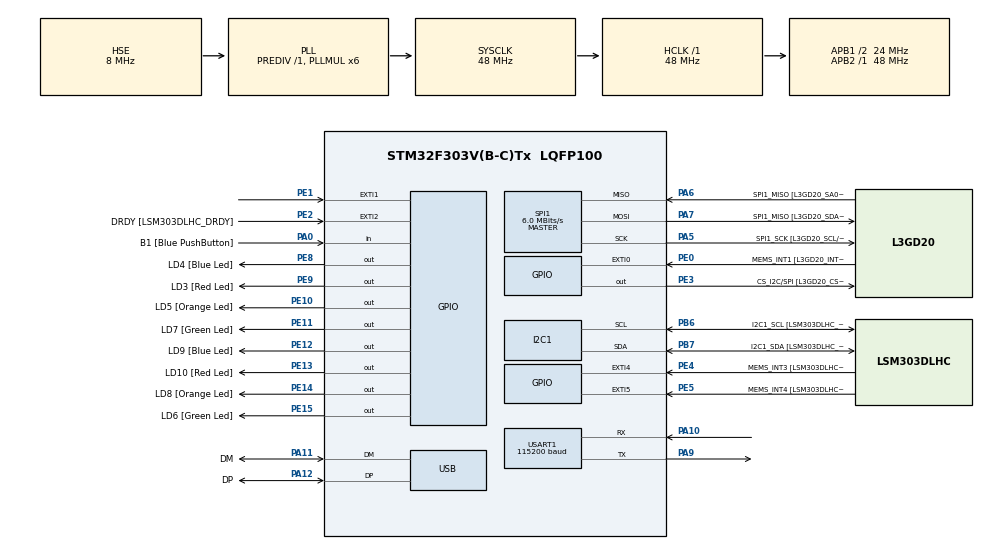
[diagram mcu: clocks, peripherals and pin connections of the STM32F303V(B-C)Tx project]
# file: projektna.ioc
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I2C1.Timing=0x00201D2B
I2C1.Timing-I2C=0x2000090E
Mcu.Family=STM32F3
Mcu.Name=STM32F303V(B-C)Tx
Mcu.Package=LQFP100
NVIC.EXTI1_IRQn=true\:0\:0\:false\:false\:true\:true\:true\:true
NVIC.PriorityGroup=NVIC_PRIORITYGROUP_0
NVIC.USART1_IRQn=true\:0\:0\:false\:false\:true\:true\:true\:true
NVIC.USB_LP_CAN_RX0_IRQn=true\:0\:0\:false\:false\:true\:false\:true\:true
PA0.GPIO_Label=B1 [Blue PushButton]
PA0.Signal=GPIO_Input
PA10.Mode=Asynchronous
PA10.Signal=USART1_RX
PA11.GPIO_Label=DM
PA11.Mode=Device
PA11.Signal=USB_DM
PA12.GPIO_Label=DP
PA12.Mode=Device
PA12.Signal=USB_DP
PA13.GPIO_Label=SWDIO
PA13.Mode=Serial_Wire
PA13.Signal=SYS_JTMS-SWDIO
PA14.GPIO_Label=SWCLK
PA14.Mode=Serial_Wire
PA14.Signal=SYS_JTCK-SWCLK
PA5.GPIO_Label=SPI1_SCK [L3GD20_SCL/SPC]
PA5.Mode=Full_Duplex_Master
PA5.Signal=SPI1_SCK
PA6.GPIO_Label=SPI1_MISO [L3GD20_SA0/SDO]
PA6.Mode=Full_Duplex_Master
PA6.Signal=SPI1_MISO
PA7.GPIO_Label=SPI1_MISO [L3GD20_SDA/SDI/SDO]
PA7.Mode=Full_Duplex_Master
PA7.Signal=SPI1_MOSI
PA9.Mode=Asynchronous
PA9.Signal=USART1_TX
PB3.GPIO_Label=SWO
PB3.Signal=SYS_JTDO-TRACESWO
PB6.GPIO_Label=I2C1_SCL [LSM303DLHC_SCL]
PB6.GPIO_Pu=GPIO_PULLUP
PB6.Mode=I2C
PB6.Signal=I2C1_SCL
PB7.GPIO_Label=I2C1_SDA [LSM303DLHC_SDA]
PB7.GPIO_Pu=GPIO_PULLUP
PB7.Mode=I2C
PB7.Signal=I2C1_SDA
PC14-OSC32_IN.GPIO_Label=OSC32_IN
PC14-OSC32_IN.Signal=RCC_OSC32_IN
PC15-OSC32_OUT.GPIO_Label=OSC32_OUT
PC15-OSC32_OUT.Signal=RCC_OSC32_OUT
PE0.GPIO_Label=MEMS_INT1 [L3GD20_INT1]
PE0.GPIO_ModeDefaultEXTI=GPIO_MODE_EVT_RISING
PE0.Signal=GPXTI0
PE1.Signal=GPXTI1
PE10.GPIO_Label=LD5 [Orange Led]
PE10.Signal=GPIO_Output
PE11.GPIO_Label=LD7 [Green Led]
PE11.Signal=GPIO_Output
PE12.GPIO_Label=LD9 [Blue Led]
PE12.Signal=GPIO_Output
PE13.GPIO_Label=LD10 [Red Led]
PE13.Signal=GPIO_Output
PE14.GPIO_Label=LD8 [Orange Led]
PE14.Signal=GPIO_Output
PE15.GPIO_Label=LD6 [Green Led]
PE15.Signal=GPIO_Output
PE2.GPIO_Label=DRDY [LSM303DLHC_DRDY]
PE2.GPIO_ModeDefaultEXTI=GPIO_MODE_EVT_RISING
PE2.Signal=GPXTI2
PE3.GPIO_Label=CS_I2C/SPI [L3GD20_CS_I2C/SPI]
PE3.GPIO_Speed=GPIO_SPEED_FREQ_HIGH
PE3.Signal=GPIO_Output
PE4.GPIO_Label=MEMS_INT3 [LSM303DLHC_INT1]
PE4.GPIO_ModeDefaultEXTI=GPIO_MODE_EVT_RISING
PE4.Signal=GPXTI4
PE5.GPIO_Label=MEMS_INT4 [LSM303DLHC_INT2]
PE5.GPIO_ModeDefaultEXTI=GPIO_MODE_EVT_RISING
PE5.Signal=GPXTI5
PE8.GPIO_Label=LD4 [Blue Led]
PE8.Signal=GPIO_Output
PE9.GPIO_Label=LD3 [Red Led]
PE9.Signal=GPIO_Output
PF0-OSC_IN.GPIO_Label=OSC_IN
PF0-OSC_IN.Mode=HSE-External-Clock-Source
PF0-OSC_IN.Signal=RCC_OSC_IN
PF1-OSC_OUT.GPIO_Label=OSC_OUT
PF1-OSC_OUT.Signal=RCC_OSC_OUT
ProjectManager.HeapSize=0x200
ProjectManager.StackSize=0x400
ProjectManager.TargetToolchain=STM32CubeIDE
RCC.AHBFreq_Value=48000000
RCC.APB1CLKDivider=RCC_HCLK_DIV2
RCC.APB1Freq_Value=24000000
RCC.APB1TimFreq_Value=48000000
RCC.APB2Freq_Value=48000000
RCC.APB2TimFreq_Value=48000000
RCC.CortexFreq_Value=48000000
RCC.HCLKFreq_Value=48000000
RCC.HSE_VALUE=8000000
RCC.HSI_VALUE=8000000
RCC.LSE_VALUE=32768
RCC.PLLMUL=RCC_PLL_MUL6
RCC.SYSCLKFreq_VALUE=48000000
RCC.SYSCLKSourceVirtual=RCC_SYSCLKSOURCE_PLLCLK
RCC.USBFreq_Value=48000000
SPI1.BaudRatePrescaler=SPI_BAUDRATEPRESCALER_8
SPI1.BaudRatePrescaler-Full_Duplex_Master=SPI_BAUDRATEPRESCALER_2
SPI1.CLKPhase=SPI_PHASE_2EDGE
SPI1.CLKPolarity=SPI_POLARITY_HIGH
SPI1.CalculateBaudRate=6.0 MBits/s
SPI1.CalculateBaudRate-Full_Duplex_Master=24.0 MBits/s
SPI1.DataSize=SPI_DATASIZE_8BIT
SPI1.Direction=SPI_DIRECTION_2LINES
SPI1.Mode=SPI_MODE_MASTER
SPI1.Mode-Full_Duplex_Master=SPI_MODE_MASTER
SPI1.VirtualType=VM_MASTER
USART1.BaudRate=115200
USART1.VirtualMode-Asynchronous=VM_ASYNC
USB_DEVICE.CLASS_NAME_FS=CDC
USB_DEVICE.VirtualMode=Cdc
USB_DEVICE.VirtualModeFS=Cdc_FS
VP_USB_DEVICE_VS_USB_DEVICE_CDC_FS.Mode=CDC_FS
board=STM32F3DISCOVERY

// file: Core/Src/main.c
/* USER CODE BEGIN Header */
/**
  ******************************************************************************
  * @file           : main.c
  * @brief          : Main program body
  ******************************************************************************
  * @attention
  *
  * Copyright (c) 2025 STMicroelectronics.
  * All rights reserved.
  *
  * This software is licensed under terms that can be found in the LICENSE file
  * in the root directory of this software component.
  * If no LICENSE file comes with this software, it is provided AS-IS.
  *
  ******************************************************************************
  */
/* USER CODE END Header */
#include "main.h"
#include "usb_device.h"

/* USER CODE BEGIN PD */
#define SERVER_IP "192.168.137.1"  //spremeni to da kaze na sever
#define SERVER_PORT "3000"           //spremeni to na pravi port, ponavadi 80
#define CONNECTION_ID 0
#define DEVICE_ID 1				  //identifikator za napravo
#define API_ENDPOINT "/user_routes/add-gyro-measurement"
#define UART_RX_BUFFER_SIZE 2048
#define MAX_JSON_SIZE 2048
#define MEASUREMENTS_PER_BATCH 20
//#define BUFFER_SIZE 1024

//static char debugBuffer[UART_RX_BUFFER_SIZE];
static volatile uint16_t debugLength = 0;
static volatile uint8_t newDataFlag = 0;
static uint8_t uartRxBuffer[UART_RX_BUFFER_SIZE];
static volatile uint16_t uartRxIndex = 0;

static uint8_t tempByte;
static uint32_t lastATTime = 0;
int connectedToWifi = 0;

#define CTRL_REG1_ADDR   0x20  // Address for CTRL_REG1
#define CTRL_REG4_ADDR   0x23   // Address for CTRL_REG4

/* USER CODE END PD */

I2C_HandleTypeDef hi2c1;

SPI_HandleTypeDef hspi1;

UART_HandleTypeDef huart1;

/* USER CODE BEGIN PV */
UART_HandleTypeDef huart1;

uint32_t last_button_press = 0;
uint8_t gyro_ready = 0;
/* USER CODE END PV */

void SystemClock_Config(void);
static void MX_GPIO_Init(void);
static void MX_I2C1_Init(void);
static void MX_SPI1_Init(void);
static void MX_USART1_UART_Init(void);

/* USER CODE BEGIN 0 */

// ---------------------------------------------------------------------------
//                          GYRO CODE
// ---------------------------------------------------------------------------

// Pavza, s katero omogocimo pravilno delovanje avtomatskega testa
void pavza(){
  uint32_t counter = 0;
  for(counter=0; counter<600; counter++){
    asm("nop");
  }
}

uint8_t spi1_beriRegister(uint8_t reg)
{
  uint16_t buf_out, buf_in;
  reg |= 0x80; // najpomembnejsi bit na 1
  buf_out = reg; // little endian, se postavi na pravo mesto ....
  HAL_GPIO_WritePin(GPIOE, GPIO_PIN_3, GPIO_PIN_RESET);
  pavza();
  //HAL_SPI_TransmitReceive(&hspi1, (uint8_t*)&buf_out, (uint8_t*)&buf_in, 2, 2); // blocking posiljanje ....
  HAL_SPI_TransmitReceive(&hspi1, &((uint8_t*)&buf_out)[0], &((uint8_t*)&buf_in)[0], 1, 2); // razbito na dva dela, da se podaljsa cas in omogoci pravilno delovanje testa
  pavza();
  HAL_SPI_TransmitReceive(&hspi1, &((uint8_t*)&buf_out)[1], &((uint8_t*)&buf_in)[1], 1, 2); // razbito na dva dela, da se podaljsa cas in omogoci pravilno delovanje testa
  HAL_GPIO_WritePin(GPIOE, GPIO_PIN_3, GPIO_PIN_SET);
  pavza();
  return buf_in >> 8; // little endian...
}

void spi1_pisiRegister(uint8_t reg, uint8_t vrednost)
{
  uint16_t buf_out;
  buf_out = reg | (vrednost<<8); // little endian, se postavi na pravo mesto ....
  HAL_GPIO_WritePin(GPIOE, GPIO_PIN_3, GPIO_PIN_RESET);
  pavza();
  //HAL_SPI_Transmit(&hspi1, (uint8_t*)&buf_out, 2, 2); // blocking posiljanje ....
  HAL_SPI_Transmit(&hspi1, &((uint8_t*)&buf_out)[0], 1, 2); // razbito na dva dela, da se podaljsa cas in omogoci pravilno delovanje testa
  pavza();
  HAL_SPI_Transmit(&hspi1, &((uint8_t*)&buf_out)[1], 1, 2); // razbito na dva dela, da se podaljsa cas in omogoci pravilno delovanje testa
  HAL_GPIO_WritePin(GPIOE, GPIO_PIN_3, GPIO_PIN_SET);
  pavza();
}

void spi1_beriRegistre(uint8_t reg, uint8_t* buffer, uint8_t velikost)
{
  reg |= 0xC0; // najpomembnejsa bita na 1
  HAL_GPIO_WritePin(GPIOE, GPIO_PIN_3, GPIO_PIN_RESET);
  pavza();
  HAL_SPI_Transmit(&hspi1, &reg, 1, 10); // blocking posiljanje....
  pavza();
  HAL_SPI_Receive(&hspi1,  buffer, velikost, velikost); // blocking posiljanje....
  HAL_GPIO_WritePin(GPIOE, GPIO_PIN_3, GPIO_PIN_SET);
  pavza();
}

void initL3GD20()
{
  // preverimo ali smo "poklicali" pravi senzor
  uint8_t cip = spi1_beriRegister(0x0F);
  if (cip != 0xD4 && cip != 0xD3)
    for (;;);

  spi1_pisiRegister(0x20, 0x0F);// zbudi ziroskop in omogoci osi
  spi1_pisiRegister(0x22, 0x08);// zbudi ziroskop in omogoci osi
  spi1_pisiRegister(0x23, 0x10);// zbudi ziroskop in omogoci osi
}

void set_responsivness_190Hz() {
	/*
	 * DR (Data Rate) = 01 (190 Hz)
	 * BW = 00 (no low-pass filter)
	 * PD (Power Down) = 1 (Power On)
	 * Zen = 1, Yen = 1, Xen = 1 (Enable all axes)
	 * => 01001111 = 0x6f
	 */
     uint8_t ctrl_reg1_value = 0x6F; // DR=01 (190 Hz)

    // Write to CTRL_REG1
    HAL_SPI_Transmit(&hspi1, (uint8_t[]){CTRL_REG1_ADDR | SPI_SR_TXE, ctrl_reg1_value}, 2, HAL_MAX_DELAY);
}

void Set_Sensitivity_500DPS() {
	/*
	 * FS = 01
	 * BDU, BLE, SIM, ST, and bits [2:0] = 0
	 * => 01000000 = 0x10
	 */
    uint8_t ctrl_reg4_value = 0x10; // FS = 01 for Â±500 dps

    // Write to CTRL_REG4
    HAL_SPI_Transmit(&hspi1, (uint8_t[]){CTRL_REG4_ADDR | SPI_SR_TXE, ctrl_reg4_value}, 2, HAL_MAX_DELAY);

}

uint8_t isButtonPressed() {
    if (HAL_GPIO_ReadPin(GPIOA, GPIO_PIN_0) == GPIO_PIN_SET) { // Gumb pritisnjen
        if (HAL_GetTick() - last_button_press > 100) { // 100 ms debounce
            last_button_press = HAL_GetTick();
            return 1;
        }
    }
    return 0;
}

void HAL_GPIO_EXTI_Callback(uint16_t GPIO_Pin) {
	if(GPIO_Pin == GPIO_PIN_1) {
		gyro_ready = 1;
		HAL_GPIO_TogglePin(GPIOE, GPIO_PIN_12);
	}
}

// ----------------------------------------------------------------------------

// ---------------------------------------------------------------------------
//                          G Y R O S za malco?
// ---------------------------------------------------------------------------

void appendToJson(char* jsonStr, float value, int isLast) {
    char valueBuffer[32];
    int fullPart = (int)value;
    int decimalPart;

    //obdelam negativen vrednosti da no -1.-2
    if (value < 0) {
        float decimalTemp = (value - (float)fullPart) * -100.0f;
        decimalPart = (int)(decimalTemp + 0.5f);
    } else {
        float decimalTemp = (value - (float)fullPart) * 100.0f;
        decimalPart = (int)(decimalTemp + 0.5f);
    }

    //formatiram ,dve decimalki
    sprintf(valueBuffer, "%d.%02d%s", fullPart, decimalPart, isLast ? "" : ", ");
    strcat(jsonStr, valueBuffer);
}

void sendMeasurementBatch(float* measurements, int count) {
    char jsonData[MAX_JSON_SIZE];

    //ustvarim nov JSon
    sprintf(jsonData, "{\"deviceId\": \"%d\", \"measurements\": [", DEVICE_ID);

    //dodam vsako meritev posebej
    for(int i = 0; i < count; i++) {
        appendToJson(jsonData, measurements[i], i == count - 1);
    }

    //koncam json
    strcat(jsonData, "]}");

    //posljem podatke
    SendData(jsonData);
    SendDebug("Batch sent:");
    SendDebug(jsonData);
}

void SendData(const char* data)
{
    char cmd[128];

    //naredim povezavo
    sprintf(cmd, "AT+CIPSTART=%d,\"TCP\",\"%s\",%s", CONNECTION_ID, SERVER_IP, SERVER_PORT);
    SendCommand(cmd);
    HAL_Delay(1000);

    //pripravim post request
    char request[512];
       sprintf(request,
           "POST %s HTTP/1.1\r\n"
           "Host: %s\r\n"
           "Content-Type: application/json\r\n"
           "Connection: close\r\n"
           "Content-Length: %d\r\n"
           "\r\n"
           "%s",
           API_ENDPOINT, SERVER_IP, strlen(data), data);

    //posljem dolzino sporocila
    sprintf(cmd, "AT+CIPSEND=%d,%d", CONNECTION_ID, strlen(request));
    SendCommand(cmd);
    HAL_Delay(100);

    //posljem dejsnako sporocilo
    HAL_UART_Transmit(&huart1, (uint8_t*)request, strlen(request), 1000);
    HAL_Delay(1000);

    //zaprem povezavo
    sprintf(cmd, "AT+CIPCLOSE=%d", CONNECTION_ID);
    SendCommand(cmd);

    SendDebug("Data sent to server");
}

void SendSensorData(int fullPart, int decimalPart)
{
    char jsonData[128];
    //zapakiram v json
    sprintf(jsonData, "{\"deviceId\": \"%d\", \"gyro\": %d.%02d}",
              DEVICE_ID, fullPart, decimalPart);

    SendDebug("Sending sensor data:");
    SendDebug(jsonData);

    SendData(jsonData);
}

void SendCommand(const char* command)
{
	HAL_GPIO_WritePin(GPIOE, LD6_Pin, GPIO_PIN_SET);
    char cmd[128];
    sprintf(cmd, "%s\r\n", command);

    //posljem debug na pc
    SendDebug("TX -> ");
    SendDebug(cmd);

    //posljem komando na esp
    HAL_UART_Transmit(&huart1, (uint8_t*)cmd, strlen(cmd), 1000);

	HAL_GPIO_WritePin(GPIOE, LD6_Pin, GPIO_PIN_RESET);
}

void SetupAPServer(void)
{
	HAL_GPIO_WritePin(GPIOE, LD10_Pin, GPIO_PIN_RESET);
	HAL_GPIO_WritePin(GPIOE, LD8_Pin, GPIO_PIN_SET);
    //resetiraj
    SendCommand("AT+RST");
    HAL_Delay(2000);

    //AP
    SendCommand("AT+CWMODE=2");

    //nastavitve AP
    SendCommand("AT+CWSAP=\"ESP32_citrusi\",\"12345678\",1,3");

    //Vec povezav
    SendCommand("AT+CIPMUX=1");

    //zacnem TCP server
    SendCommand("AT+CIPSERVER=1,80");

    //dobim ip
    SendCommand("AT+CIFSR");
}

//posiljanje debug informacij na pc
void SendDebug(const char* message)
{
	  //posljem sporocilo
	    uint8_t result = CDC_Transmit_FS((uint8_t*)message, strlen(message));
	    HAL_Delay(10);

	    //posljem se konec vrstice
	    if (result == USBD_OK)
	    {
	        CDC_Transmit_FS((uint8_t*)"\r\n", 2);
	        HAL_Delay(10);
	    }
}

void ConnectToWiFi(char conn_id, const char* ssid, const char* password)
{
    char response[512];

    HAL_GPIO_WritePin(GPIOE, LD8_Pin, GPIO_PIN_RESET);

    //spremenim mode v AP in WIFI
    SendCommand("AT+CWMODE=3");
    HAL_Delay(2000);

    char wifi_cmd[128];
    sprintf(wifi_cmd, "AT+CWJAP=\"%s\",\"%s\"", ssid, password);
    SendCommand(wifi_cmd);

    HAL_Delay(2000);

   /* SendCommand("AT+CIFSR");
    memset(response, 0, sizeof(response));
    HAL_Delay(1000);
    */
    HAL_GPIO_WritePin(GPIOE, LD10_Pin, GPIO_PIN_SET);
    connectedToWifi = 1;
   /* HAL_UART_Receive(&huart1, (uint8_t*)response, sizeof(response), 1000);

    if(strstr(response, "STAIP,\"")) {

           HAL_GPIO_WritePin(GPIOE, LD9_Pin, GPIO_PIN_SET);
       } else {
           SendDebug("Failed to get IP!");
           HAL_GPIO_WritePin(GPIOE, LD9_Pin, GPIO_PIN_RESET);
       }*/
}

void SendWebPage(char conn_id)
{
	 const char* html = "HTTP/1.1 200 OK\r\n"
				 "Content-Type: text/html\r\n\r\n"
				                       "<html><head>"
				                       "<meta name='viewport' content='width=device-width, initial-scale=1.0'>"
				                       "<style>"
				                       "body {display: flex; justify-content: center; align-items: center; height: 100vh; margin: 0;}"
				                       ".container {text-align: center; width: 90%; max-width: 300px;}"
				                       "input {font-size: 18px; padding: 8px; margin: 10px; width: 100%; box-sizing: border-box;}"
				                       "h1 {font-size: 24px;}"
			 	 	 	 	 	          "</style></head>"
		                     "<body>"
		                     "<div class='container'>"
		                     "<h1>Citrusi Wifi setup</h1>"
			 	 	        "<form method='get' action='/connect'>"
		                     "<p><input type='text' name='ssid' placeholder='WiFi Name'></p>"
		                     "<p><input type='password' name='pass' placeholder='Password'></p>"
		                     "<input type='submit' value='Povezi'>"
		                     "</form>"
		                     "</div></body></html>";

		    char lenCmd[32];
		    sprintf(lenCmd, "AT+CIPSEND=%c,%d", conn_id, strlen(html));
		    SendCommand(lenCmd);
		    HAL_Delay(500);

		    HAL_UART_Transmit(&huart1, (uint8_t*)html, strlen(html), 1000);
		    HAL_Delay(500);

		    char closeCmd[32];
		    sprintf(closeCmd, "AT+CIPCLOSE=%c", conn_id);
		    SendCommand(closeCmd);
		    HAL_Delay(500);
}

void extractUrlParams(const char* url, char* ssid, char* password) {

	    char* ssid_start = strstr(url, "ssid=");
	    char* pass_start = strstr(url, "pass=");

	    if(ssid_start && pass_start)
	    {
	        ssid_start += 5;

	        char* ssid_end = strstr(ssid_start, "&");
	        if(!ssid_end) ssid_end = strstr(ssid_start, " ");

	        if(ssid_end) {
	            size_t ssid_len = ssid_end - ssid_start;
	            strncpy(ssid, ssid_start, ssid_len);
	            ssid[ssid_len] = 0;

	              }

	        pass_start += 5;

	        char* pass_end = strstr(pass_start, "&");
	        if(!pass_end) pass_end = strstr(pass_start, " ");

	        if(pass_end) {
	            size_t pass_len = pass_end - pass_start;
	            strncpy(password, pass_start, pass_len);
	            password[pass_len] = 0;
	        }
	   }
}

void ProcessUART(void)
{
    char* ipd = strstr((char*)uartRxBuffer, "+IPD,");
    char* get = strstr((char*)uartRxBuffer, "GET");

    if(ipd && get)
    {
        SendDebug("Dobil buffer:");
        SendDebug((char*)uartRxBuffer);

        char conn_id = ipd[5];
        HAL_GPIO_WritePin(GPIOE, LD4_Pin, GPIO_PIN_SET);

        if(strstr((char*)uartRxBuffer, "connect"))
        {
            char ssid[32] = {0};
            char password[32] = {0};

            //HAL_GPIO_WritePin(GPIOE, LD5_Pin, GPIO_PIN_SET);
            extractUrlParams((char*)uartRxBuffer, ssid, password);

            if(strlen(ssid) > 0 && strlen(password) > 0)
            {
                ConnectToWiFi(conn_id, ssid, password);
            }

        }
        else
        {
            //HAL_GPIO_WritePin(GPIOE, LD9_Pin, GPIO_PIN_SET);
            SendWebPage(conn_id);
        }

        HAL_GPIO_WritePin(GPIOE, LD4_Pin, GPIO_PIN_RESET);
    }
}

void HAL_UART_RxCpltCallback(UART_HandleTypeDef *huart)
{
	  if(huart->Instance == USART1)
	    {
	        //shrani prvi byte
	        if(uartRxIndex < UART_RX_BUFFER_SIZE - 1)
	        {
	            uartRxBuffer[uartRxIndex++] = tempByte;

	            //nastavi zastavico za procesiranje ce dobimo konec vrstice
	            if(tempByte == '\n' || tempByte == '\r')
	            {
	                if(uartRxIndex > 1)
	                {
	                    newDataFlag = 1;
	                }
	            }
	        }
	        else
	        {
	            //resetiramo buffer
	            uartRxIndex = 0;
	        }

	        //resetiraj recepcijo prekinitve
	        HAL_UART_Receive_IT(&huart1, &tempByte, 1);
	    }
}

/* USER CODE END 0 */

int main(void)
{

  /* MCU Configuration--------------------------------------------------------*/

  /* Reset of all peripherals, Initializes the Flash interface and the Systick. */
  HAL_Init();

  /* Configure the system clock */
  SystemClock_Config();

  /* Initialize all configured peripherals */
  MX_GPIO_Init();
  MX_I2C1_Init();
  MX_SPI1_Init();
  MX_USART1_UART_Init();
  MX_USB_DEVICE_Init();
  /* USER CODE BEGIN 2 */

  //pokazatelj delovanja, led vsako sekundo unteracije while zanke
  HAL_GPIO_WritePin(GPIOE, LD3_Pin, GPIO_PIN_RESET);

  HAL_GPIO_WritePin(GPIOE, LD8_Pin, GPIO_PIN_RESET);

  //pokaze kdaj se posilja komanda
  HAL_GPIO_WritePin(GPIOE, LD6_Pin, GPIO_PIN_RESET);

//led on ko dobim nove podatke
  HAL_GPIO_WritePin(GPIOE, LD9_Pin, GPIO_PIN_RESET);

  HAL_GPIO_WritePin(GPIOE, LD7_Pin, GPIO_PIN_RESET);

  HAL_GPIO_WritePin(GPIOE, LD10_Pin, GPIO_PIN_RESET);

  HAL_GPIO_WritePin(GPIOE, LD4_Pin, GPIO_PIN_RESET);

  HAL_UART_Receive_IT(&huart1, &tempByte, 1);
  SendDebug("zacenjam ESP32 kot AP...");

     // Setup the access point
     SetupAPServer();

     SendDebug("AP nastavljen, cakam na povezave...");
  lastATTime = HAL_GetTick();

    // -----------------------------------------------------------------
    //                  GYRO CODE
    // -----------------------------------------------------------------

    __HAL_SPI_ENABLE(&hspi1);
    HAL_GPIO_WritePin(GPIOE, GPIO_PIN_3, GPIO_PIN_SET);

    set_responsivness_190Hz();
    Set_Sensitivity_500DPS();
    initL3GD20();

    // ---------------------------------------------------------------------

  /* USER CODE END 2 */

  /* Infinite loop */
  /* USER CODE BEGIN WHILE */

  while (1)
  {
	  if(newDataFlag)
	         {
		   HAL_GPIO_WritePin(GPIOE, LD9_Pin, GPIO_PIN_SET);

		    uartRxBuffer[uartRxIndex] = 0;

		    SendDebug("Dobil buffer:");
		    SendDebug((char*)uartRxBuffer);

		      //procesiram buffer
		     ProcessUART();

		       //resetiram buffer in zastavico
		      uartRxIndex = 0;
		      newDataFlag = 0;
	              memset(uartRxBuffer, 0, UART_RX_BUFFER_SIZE);
		      HAL_GPIO_WritePin(GPIOE, LD9_Pin, GPIO_PIN_RESET);
	         }

		static uint32_t lastBlink = 0;
		static uint32_t lastGyroSend = 0;
		static float measurements[MEASUREMENTS_PER_BATCH];
		static int measurementIndex = 0;

	    if(connectedToWifi && (HAL_GetTick() - lastGyroSend >= 500)) {
	        lastGyroSend = HAL_GetTick();

	        HAL_GPIO_TogglePin(GPIOE, LD6_Pin);

	        int16_t xyz[3] = {0};
	        spi1_beriRegistre(0x28, (uint8_t*)xyz, 6);

	        float sensitivity = 0.0175f;
	        float x_dps = xyz[0] * sensitivity;

	        /* int fullPart = (int)(x_dps);
	        int decimalPart;

	       if (x_dps < 0) {
	            float decimalTemp = (x_dps - (float)fullPart) * -100.0f;
	            decimalPart = (int)(decimalTemp + 0.5f);
	        } else {
	            float decimalTemp = (x_dps - (float)fullPart) * 100.0f;
	            decimalPart = (int)(decimalTemp + 0.5f);
	        }

	        SendSensorData(fullPart, decimalPart);
	        */
	        // Store measurement in buffer
	               measurements[measurementIndex] = x_dps;
	               measurementIndex++;

	               //ko je buffer pol posljem celo vsebino
	               if(measurementIndex >= MEASUREMENTS_PER_BATCH) {
	                   sendMeasurementBatch(measurements, measurementIndex);
	                   measurementIndex = 0;  //resetiram stevec
	               }
	    }

	  	  //indikator delovanje, led blink vsako sekundo
	        if(HAL_GetTick() - lastBlink >= 1000)
	        {
	            HAL_GPIO_TogglePin(GPIOE, LD3_Pin);
	            lastBlink = HAL_GetTick();

	        }
	         HAL_Delay(10);
	     }
    /* USER CODE END WHILE */

}

void SystemClock_Config(void)
{
  RCC_OscInitTypeDef RCC_OscInitStruct = {0};
  RCC_ClkInitTypeDef RCC_ClkInitStruct = {0};
  RCC_PeriphCLKInitTypeDef PeriphClkInit = {0};

  /** Initializes the RCC Oscillators according to the specified parameters
  * in the RCC_OscInitTypeDef structure.
  */
  RCC_OscInitStruct.OscillatorType = RCC_OSCILLATORTYPE_HSI|RCC_OSCILLATORTYPE_HSE;
  RCC_OscInitStruct.HSEState = RCC_HSE_BYPASS;
  RCC_OscInitStruct.HSEPredivValue = RCC_HSE_PREDIV_DIV1;
  RCC_OscInitStruct.HSIState = RCC_HSI_ON;
  RCC_OscInitStruct.HSICalibrationValue = RCC_HSICALIBRATION_DEFAULT;
  RCC_OscInitStruct.PLL.PLLState = RCC_PLL_ON;
  RCC_OscInitStruct.PLL.PLLSource = RCC_PLLSOURCE_HSE;
  RCC_OscInitStruct.PLL.PLLMUL = RCC_PLL_MUL6;
  if (HAL_RCC_OscConfig(&RCC_OscInitStruct) != HAL_OK)
  {
    Error_Handler();
  }

  /** Initializes the CPU, AHB and APB buses clocks
  */
  RCC_ClkInitStruct.ClockType = RCC_CLOCKTYPE_HCLK|RCC_CLOCKTYPE_SYSCLK
                              |RCC_CLOCKTYPE_PCLK1|RCC_CLOCKTYPE_PCLK2;
  RCC_ClkInitStruct.SYSCLKSource = RCC_SYSCLKSOURCE_PLLCLK;
  RCC_ClkInitStruct.AHBCLKDivider = RCC_SYSCLK_DIV1;
  RCC_ClkInitStruct.APB1CLKDivider = RCC_HCLK_DIV2;
  RCC_ClkInitStruct.APB2CLKDivider = RCC_HCLK_DIV1;

  if (HAL_RCC_ClockConfig(&RCC_ClkInitStruct, FLASH_LATENCY_1) != HAL_OK)
  {
    Error_Handler();
  }
  PeriphClkInit.PeriphClockSelection = RCC_PERIPHCLK_USB|RCC_PERIPHCLK_USART1
                              |RCC_PERIPHCLK_I2C1;
  PeriphClkInit.Usart1ClockSelection = RCC_USART1CLKSOURCE_PCLK2;
  PeriphClkInit.I2c1ClockSelection = RCC_I2C1CLKSOURCE_HSI;
  PeriphClkInit.USBClockSelection = RCC_USBCLKSOURCE_PLL;
  if (HAL_RCCEx_PeriphCLKConfig(&PeriphClkInit) != HAL_OK)
  {
    Error_Handler();
  }
}

static void MX_I2C1_Init(void)
{

  hi2c1.Instance = I2C1;
  hi2c1.Init.Timing = 0x00201D2B;
  hi2c1.Init.OwnAddress1 = 0;
  hi2c1.Init.AddressingMode = I2C_ADDRESSINGMODE_7BIT;
  hi2c1.Init.DualAddressMode = I2C_DUALADDRESS_DISABLE;
  hi2c1.Init.OwnAddress2 = 0;
  hi2c1.Init.OwnAddress2Masks = I2C_OA2_NOMASK;
  hi2c1.Init.GeneralCallMode = I2C_GENERALCALL_DISABLE;
  hi2c1.Init.NoStretchMode = I2C_NOSTRETCH_DISABLE;
  if (HAL_I2C_Init(&hi2c1) != HAL_OK)
  {
    Error_Handler();
  }

  /** Configure Analogue filter
  */
  if (HAL_I2CEx_ConfigAnalogFilter(&hi2c1, I2C_ANALOGFILTER_ENABLE) != HAL_OK)
  {
    Error_Handler();
  }

  /** Configure Digital filter
  */
  if (HAL_I2CEx_ConfigDigitalFilter(&hi2c1, 0) != HAL_OK)
  {
    Error_Handler();
  }

}

static void MX_SPI1_Init(void)
{

  /* SPI1 parameter configuration*/
  hspi1.Instance = SPI1;
  hspi1.Init.Mode = SPI_MODE_MASTER;
  hspi1.Init.Direction = SPI_DIRECTION_2LINES;
  hspi1.Init.DataSize = SPI_DATASIZE_8BIT;
  hspi1.Init.CLKPolarity = SPI_POLARITY_HIGH;
  hspi1.Init.CLKPhase = SPI_PHASE_2EDGE;
  hspi1.Init.NSS = SPI_NSS_SOFT;
  hspi1.Init.BaudRatePrescaler = SPI_BAUDRATEPRESCALER_8;
  hspi1.Init.FirstBit = SPI_FIRSTBIT_MSB;
  hspi1.Init.TIMode = SPI_TIMODE_DISABLE;
  hspi1.Init.CRCCalculation = SPI_CRCCALCULATION_DISABLE;
  hspi1.Init.CRCPolynomial = 7;
  hspi1.Init.CRCLength = SPI_CRC_LENGTH_DATASIZE;
  hspi1.Init.NSSPMode = SPI_NSS_PULSE_DISABLE;
  if (HAL_SPI_Init(&hspi1) != HAL_OK)
  {
    Error_Handler();
  }

}

static void MX_USART1_UART_Init(void)
{

  huart1.Instance = USART1;
  huart1.Init.BaudRate = 115200;
  huart1.Init.WordLength = UART_WORDLENGTH_8B;
  huart1.Init.StopBits = UART_STOPBITS_1;
  huart1.Init.Parity = UART_PARITY_NONE;
  huart1.Init.Mode = UART_MODE_TX_RX;
  huart1.Init.HwFlowCtl = UART_HWCONTROL_NONE;
  huart1.Init.OverSampling = UART_OVERSAMPLING_16;
  huart1.Init.OneBitSampling = UART_ONE_BIT_SAMPLE_DISABLE;
  huart1.AdvancedInit.AdvFeatureInit = UART_ADVFEATURE_NO_INIT;
  if (HAL_UART_Init(&huart1) != HAL_OK)
  {
    Error_Handler();
  }

}

static void MX_GPIO_Init(void)
{
  GPIO_InitTypeDef GPIO_InitStruct = {0};

  /* GPIO Ports Clock Enable */
  __HAL_RCC_GPIOE_CLK_ENABLE();
  __HAL_RCC_GPIOC_CLK_ENABLE();
  __HAL_RCC_GPIOF_CLK_ENABLE();
  __HAL_RCC_GPIOA_CLK_ENABLE();
  __HAL_RCC_GPIOB_CLK_ENABLE();

  /*Configure GPIO pin Output Level */
  HAL_GPIO_WritePin(GPIOE, CS_I2C_SPI_Pin|LD4_Pin|LD3_Pin|LD5_Pin
                          |LD7_Pin|LD9_Pin|LD10_Pin|LD8_Pin
                          |LD6_Pin, GPIO_PIN_RESET);

  /*Configure GPIO pins : DRDY_Pin MEMS_INT3_Pin MEMS_INT4_Pin MEMS_INT1_Pin */
  GPIO_InitStruct.Pin = DRDY_Pin|MEMS_INT3_Pin|MEMS_INT4_Pin|MEMS_INT1_Pin;
  GPIO_InitStruct.Mode = GPIO_MODE_EVT_RISING;
  GPIO_InitStruct.Pull = GPIO_NOPULL;
  HAL_GPIO_Init(GPIOE, &GPIO_InitStruct);

  /*Configure GPIO pin : CS_I2C_SPI_Pin */
  GPIO_InitStruct.Pin = CS_I2C_SPI_Pin;
  GPIO_InitStruct.Mode = GPIO_MODE_OUTPUT_PP;
  GPIO_InitStruct.Pull = GPIO_NOPULL;
  GPIO_InitStruct.Speed = GPIO_SPEED_FREQ_HIGH;
  HAL_GPIO_Init(CS_I2C_SPI_GPIO_Port, &GPIO_InitStruct);

  /*Configure GPIO pin : B1_Pin */
  GPIO_InitStruct.Pin = B1_Pin;
  GPIO_InitStruct.Mode = GPIO_MODE_INPUT;
  GPIO_InitStruct.Pull = GPIO_NOPULL;
  HAL_GPIO_Init(B1_GPIO_Port, &GPIO_InitStruct);

  /*Configure GPIO pins : LD4_Pin LD3_Pin LD5_Pin LD7_Pin
                           LD9_Pin LD10_Pin LD8_Pin LD6_Pin */
  GPIO_InitStruct.Pin = LD4_Pin|LD3_Pin|LD5_Pin|LD7_Pin
                          |LD9_Pin|LD10_Pin|LD8_Pin|LD6_Pin;
  GPIO_InitStruct.Mode = GPIO_MODE_OUTPUT_PP;
  GPIO_InitStruct.Pull = GPIO_NOPULL;
  GPIO_InitStruct.Speed = GPIO_SPEED_FREQ_LOW;
  HAL_GPIO_Init(GPIOE, &GPIO_InitStruct);

  /*Configure GPIO pin : PE1 */
  GPIO_InitStruct.Pin = GPIO_PIN_1;
  GPIO_InitStruct.Mode = GPIO_MODE_IT_RISING;
  GPIO_InitStruct.Pull = GPIO_NOPULL;
  HAL_GPIO_Init(GPIOE, &GPIO_InitStruct);

  /* EXTI interrupt init*/
  HAL_NVIC_SetPriority(EXTI1_IRQn, 0, 0);
  HAL_NVIC_EnableIRQ(EXTI1_IRQn);

}

void Error_Handler(void)
{
  __disable_irq();
  while (1)
  {
  }
}
